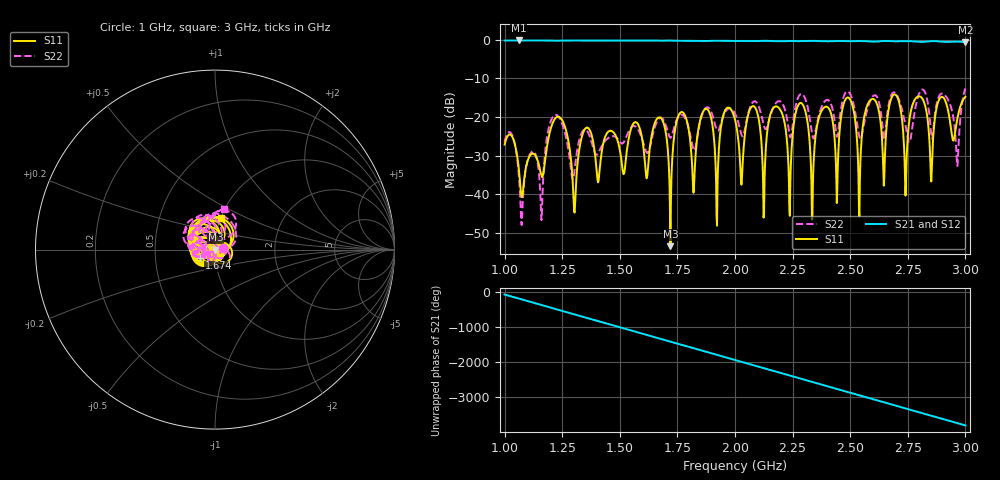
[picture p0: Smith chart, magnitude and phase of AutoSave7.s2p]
!Agilent N9923A: A.05.17
!Date: Sunday, 01 January 2006 13:46:49
!Model: N9923A
!Serial: MY50371189
!CHECKSUM:0832549578
!Correction: S11(ON U)S21(OFF)S12(OFF)S22(OFF)
!S2P File: Measurements:S11,S21,S12,S22:
# Hz S RI R 50
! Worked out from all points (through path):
!   1001 points, 1 GHz to 3 GHz, reference 50 ohm
!   highest |S21| = -0.18 dB at 1.062 GHz (marker M1); lowest = -0.7 dB at 3 GHz (marker M2)
!   group delay of S21, straight-line fit = 5.18 ns
!   lowest |S11| = -53.5 dB at 1.72 GHz (marker M3), VSWR 1.00, Z = 50.2 - j0.0398 ohm
!   |S11| at or under -10 dB: start of sweep to end of sweep
!   |S22| runs from -48.0 to -12.6 dB; largest |S21 - S12| = 0.0043
!   S11 on the Smith chart (normalised r, x): 1 GHz: 1.09, +0.02; 1.674 GHz: 0.84, -0.08; 3 GHz: 1.00, +0.37
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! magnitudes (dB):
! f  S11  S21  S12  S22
! 1 GHz  -27.2  -0.2  -0.2  -26.6
! 1.062 GHz  -33.7  -0.2  -0.2  -35.3
! 1.304 GHz  -44.8  -0.2  -0.2  -33.5
! 1.334 GHz  -25.4  -0.2  -0.2  -24.2
! 1.668 GHz  -20.1  -0.3  -0.2  -20.6
! 1.674 GHz  -20.1  -0.3  -0.2  -20.3
! 1.72 GHz  -53.5  -0.2  -0.2  -25.4
! 1.764 GHz  -18.8  -0.3  -0.3  -19.4
! 1.82 GHz  -39.6  -0.3  -0.3  -28.5
! 2 GHz  -20.6  -0.3  -0.3  -19.1
! 2.126 GHz  -45.1  -0.3  -0.3  -22.4
! 2.188 GHz  -17.5  -0.4  -0.4  -15.9
! 2.236 GHz  -44.0  -0.3  -0.3  -24.4
! 2.29 GHz  -16.5  -0.4  -0.4  -14.0
! 2.334 GHz  -46.6  -0.3  -0.3  -24.2
! 2.386 GHz  -17.6  -0.4  -0.4  -16.2
! 2.442 GHz  -42.3  -0.3  -0.3  -25.1
! 2.5 GHz  -15.5  -0.4  -0.4  -14.1
! 2.54 GHz  -45.8  -0.3  -0.3  -25.1
! 2.668 GHz  -17.6  -0.3  -0.3  -16.4
! 2.964 GHz  -20.8  -0.5  -0.4  -32.6
! 3 GHz  -14.8  -0.7  -0.7  -12.6
